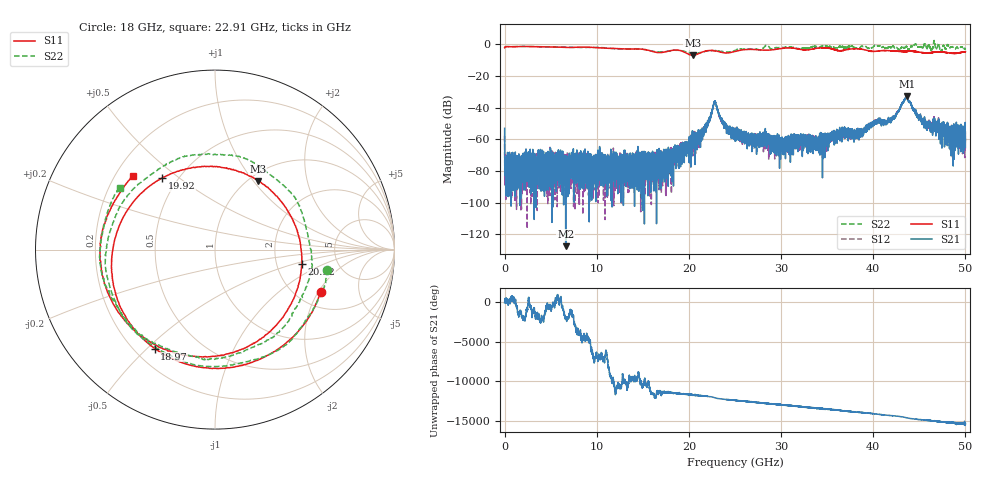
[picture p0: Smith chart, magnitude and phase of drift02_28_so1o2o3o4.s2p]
!Created with skrf (http://scikit-rf.org).
# Hz S RI R 50.0
!freq ReS11 ImS11 ReS21 ImS21 ReS12 ImS12 ReS22 ImS22
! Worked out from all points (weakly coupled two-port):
!   10001 points, 300 kHz to 50 GHz, reference 50 ohm
!   highest |S21| = -32.80 dB at 43.64 GHz (marker M1); lowest = -127.6 dB at 6.63 GHz (marker M2)
!   lowest |S11| = -6.9 dB at 20.41 GHz (marker M3), VSWR 2.64, Z = 54.8 + j52.6 ohm
!   |S11| at or under -10 dB: nowhere
!   |S22| runs from -5.7 to 2.5 dB; largest |S21 - S12| = 0.0035
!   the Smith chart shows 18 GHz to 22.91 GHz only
!   S11 on the Smith chart (normalised r, x): 18 GHz: 2.65, -2.10; 18.97 GHz: 0.28, -0.53; 19.92 GHz: 0.41, +0.43; 20.92 GHz: 2.78, -0.59; 22.91 GHz: 0.27, +0.36
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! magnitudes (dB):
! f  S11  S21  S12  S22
! 300 kHz  -2.1  -53.1  -57.8  -2.1
! 260.3 MHz  -1.4  -72.9  -82.5  -1.4
! 6.63 GHz  -1.9  -127.6  -81.0  -1.8
! 8.335 GHz  -1.7  -77.3  -76.7  -1.9
! 16.67 GHz  -5.2  -75.3  -72.9  -4.7
! 18 GHz  -4.0  -67.3  -68.1  -4.0
! 18.97 GHz  -3.8  -76.6  -72.1  -3.9
! 19.92 GHz  -6.1  -66.8  -64.7  -5.2
! 20.41 GHz  -6.9  -64.6  -63.2  -5.4
! 20.92 GHz  -6.2  -57.0  -61.7  -5.6
! 22.91 GHz  -4.2  -37.1  -37.0  -4.0
! 23.86 GHz  -5.4  -52.0  -50.2  -4.6
! 25 GHz  -4.5  -55.9  -57.1  -3.9
! 29.76 GHz  -2.8  -61.1  -62.5  -2.1
! 33.34 GHz  -3.0  -64.5  -58.7  -1.6
! 38.05 GHz  -2.7  -56.5  -58.3  -2.2
! 40.37 GHz  -4.4  -50.0  -49.3  -1.0
! 41.67 GHz  -4.0  -48.6  -48.0  -1.9
! 43.64 GHz  -4.2  -32.8  -33.0  -1.8
! 45.62 GHz  -5.4  -47.9  -47.4  0.2
! 49.24 GHz  -5.4  -67.5  -66.0  -2.7
! 50 GHz  -4.6  -65.3  -59.4  -2.7
